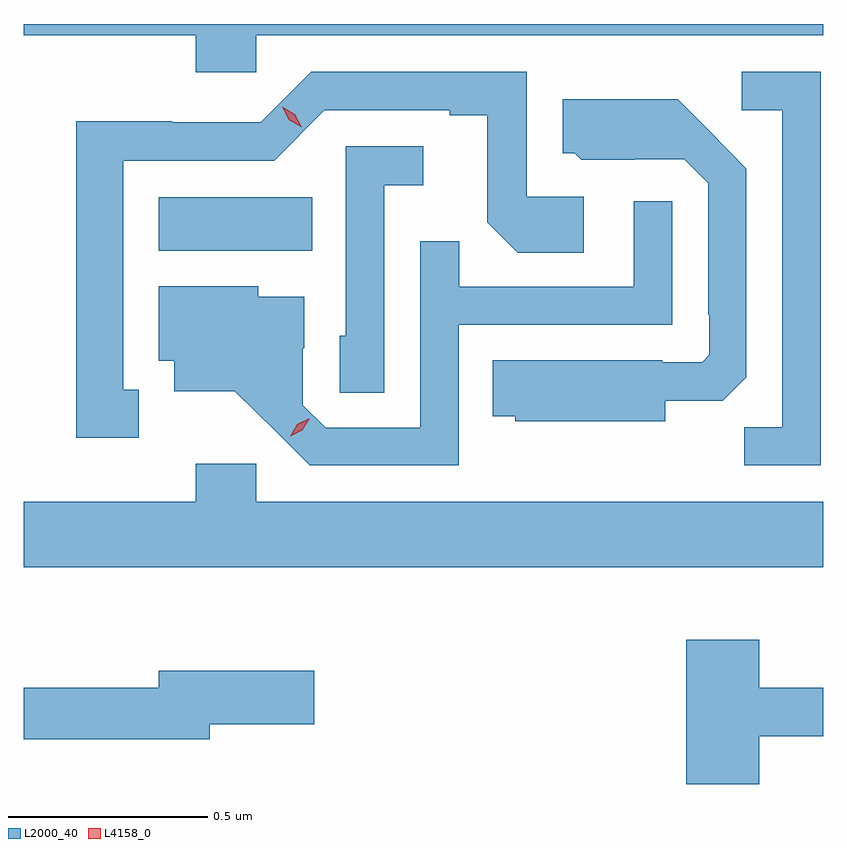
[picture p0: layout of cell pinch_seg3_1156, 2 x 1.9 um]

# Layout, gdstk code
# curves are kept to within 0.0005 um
import gdstk
lib = gdstk.Library(unit=1e-6, precision=1e-09)
def R(c, l, rs):  # rectangles x0, y0, x1, y1
    for r in rs: c.add(gdstk.rectangle(r[:2], r[2:], *l))
def P(c, l, *ps):  # polygons
    for p in ps: c.add(gdstk.Polygon(p, *l))
L2000_40 = (2000, 40)
L4158_0 = (4158, 0)

pinch_seg3_1156 = lib.new_cell('pinch_seg3_1156')
R(pinch_seg3_1156, L2000_40, [(324.074,691.052,324.458,691.186)])
P(pinch_seg3_1156, L2000_40, [(324.318,691.592),(325.737,691.592),(325.737,691.62),(323.737,691.62),(323.737,691.592),(324.167,691.592),(324.167,691.499),(324.318,691.499)],
  [(325.731,691.5),(325.533,691.5),(325.533,691.404),(325.635,691.404),(325.635,690.611),(325.54,690.611),(325.54,690.516),(325.731,690.516)],
  [(324.025,690.705),(323.986,690.705),(323.986,691.278),(324.363,691.278),(324.489,691.404),(324.803,691.404),(324.803,691.392),(324.897,691.392),(324.897,691.124),(324.973,691.048),(325.138,691.048),(325.138,691.188),(324.996,691.188),(324.996,691.5),(324.456,691.5),(324.33,691.374),(324.108,691.374),(324.108,691.376),(323.868,691.376),(323.868,690.585),(324.025,690.585)],
  [(325.342,690.677),(325.486,690.677),(325.545,690.736),(325.545,691.258),(325.373,691.432),(325.085,691.432),(325.085,691.296),(325.116,691.296),(325.132,691.28),(325.266,691.28),(325.266,691.281),(325.389,691.281),(325.449,691.221),(325.449,690.892),(325.452,690.892),(325.452,690.792),(325.434,690.774),(325.334,690.774),(325.334,690.778),(324.91,690.778),(324.91,690.638),(324.966,690.638),(324.966,690.626),(325.342,690.626)],
  [(324.639,691.217),(324.736,691.217),(324.736,691.314),(324.543,691.314),(324.543,690.84),(324.528,690.84),(324.528,690.697),(324.639,690.697)],
  [(324.825,690.867),(325.359,690.867),(325.359,691.177),(325.263,691.177),(325.263,690.963),(324.827,690.963),(324.827,691.076),(324.729,691.076),(324.729,690.609),(324.492,690.609),(324.435,690.666),(324.435,690.808),(324.439,690.808),(324.439,690.937),(324.324,690.937),(324.324,690.964),(324.074,690.964),(324.074,690.777),(324.113,690.777),(324.113,690.701),(324.265,690.701),(324.452,690.516),(324.825,690.516)],
  [(325.737,690.424),(324.318,690.424),(324.318,690.52),(324.167,690.52),(324.167,690.424),(323.737,690.424),(323.737,690.26),(325.737,690.26)],
  [(325.577,689.838),(325.737,689.838),(325.737,689.959),(325.577,689.959),(325.577,690.079),(325.394,690.079),(325.394,689.718),(325.577,689.718)],
  [(324.202,689.867),(324.463,689.867),(324.463,690.001),(324.074,690.001),(324.074,689.959),(323.737,689.959),(323.737,689.83),(324.202,689.83)])
P(pinch_seg3_1156, L4158_0, [(324.403,690.588),(324.403,690.588),(324.421,690.618),(324.452,690.633),(324.452,690.633),(324.452,690.633),(324.434,690.603),(324.404,690.588)],
  [(324.432,691.361),(324.4,691.38),(324.383,691.413),(324.383,691.413),(324.383,691.413),(324.415,691.394),(324.432,691.361),(324.432,691.361)])

lib.write_gds('pinch_seg3_1156.gds')
